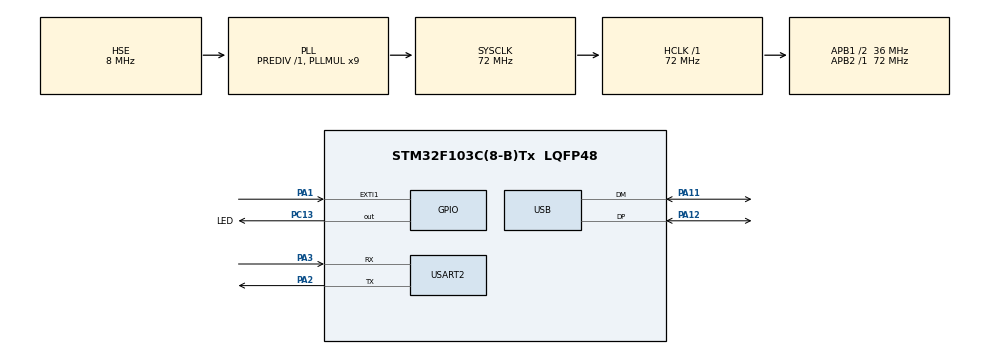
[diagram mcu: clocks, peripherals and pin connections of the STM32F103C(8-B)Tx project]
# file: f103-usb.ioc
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Mcu.Family=STM32F1
Mcu.Name=STM32F103C(8-B)Tx
Mcu.Package=LQFP48
NVIC.PriorityGroup=NVIC_PRIORITYGROUP_4
NVIC.USB_LP_CAN1_RX0_IRQn=true\:0\:0\:false\:false\:true
PA1.Signal=GPXTI1
PA11.Mode=Device
PA11.Signal=USB_DM
PA12.Mode=Device
PA12.Signal=USB_DP
PA2.Mode=Asynchronous
PA2.Signal=USART2_TX
PA3.Mode=Asynchronous
PA3.Signal=USART2_RX
PC13-TAMPER-RTC.GPIO_Label=LED
PC13-TAMPER-RTC.Signal=GPIO_Output
PD0-OSC_IN.Mode=HSE-External-Oscillator
PD0-OSC_IN.Signal=RCC_OSC_IN
PD1-OSC_OUT.Mode=HSE-External-Oscillator
PD1-OSC_OUT.Signal=RCC_OSC_OUT
ProjectManager.HeapSize=0x200
ProjectManager.StackSize=0x400
ProjectManager.TargetToolchain=SW4STM32
RCC.AHBFreq_Value=72000000
RCC.APB1CLKDivider=RCC_HCLK_DIV2
RCC.APB1Freq_Value=36000000
RCC.APB1TimFreq_Value=72000000
RCC.APB2Freq_Value=72000000
RCC.APB2TimFreq_Value=72000000
RCC.HCLKFreq_Value=72000000
RCC.HSIState=RCC_HSI_ON
RCC.PLLMUL=RCC_PLL_MUL9
RCC.PLLSourceVirtual=RCC_PLLSOURCE_HSE
RCC.RTCClockSelection=RCC_RTCCLKSOURCE_LSE
RCC.SYSCLKFreq_VALUE=72000000
RCC.SYSCLKSource=RCC_SYSCLKSOURCE_PLLCLK
RCC.USBFreq_Value=48000000
RCC.USBPrescaler=RCC_USBCLKSOURCE_PLL_DIV1_5
USB_DEVICE.USBD_HandleTypeDef=hUsbDeviceFS
USB_DEVICE.VirtualMode=Hid
USB_DEVICE.VirtualModeFS=Hid_FS
VP_SYS_VS_ND.Mode=No_Debug
VP_USB_DEVICE_VS_USB_DEVICE_HID_FS.Mode=HID_FS
board=f103-usb

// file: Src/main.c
/**
  ******************************************************************************
  * File Name          : main.c
  * Description        : Main program body
  ******************************************************************************
  *
  * COPYRIGHT(c) 2016 STMicroelectronics
  *
  * Redistribution and use in source and binary forms, with or without modification,
  * are permitted provided that the following conditions are met:
  *   1. Redistributions of source code must retain the above copyright notice,
  *      this list of conditions and the following disclaimer.
  *   2. Redistributions in binary form must reproduce the above copyright notice,
  *      this list of conditions and the following disclaimer in the documentation
  *      and/or other materials provided with the distribution.
  *   3. Neither the name of STMicroelectronics nor the names of its contributors
  *      may be used to endorse or promote products derived from this software
  *      without specific prior written permission.
  *
  * THIS SOFTWARE IS PROVIDED BY THE COPYRIGHT HOLDERS AND CONTRIBUTORS "AS IS"
  * AND ANY EXPRESS OR IMPLIED WARRANTIES, INCLUDING, BUT NOT LIMITED TO, THE
  * IMPLIED WARRANTIES OF MERCHANTABILITY AND FITNESS FOR A PARTICULAR PURPOSE ARE
  * DISCLAIMED. IN NO EVENT SHALL THE COPYRIGHT HOLDER OR CONTRIBUTORS BE LIABLE
  * FOR ANY DIRECT, INDIRECT, INCIDENTAL, SPECIAL, EXEMPLARY, OR CONSEQUENTIAL
  * DAMAGES (INCLUDING, BUT NOT LIMITED TO, PROCUREMENT OF SUBSTITUTE GOODS OR
  * SERVICES; LOSS OF USE, DATA, OR PROFITS; OR BUSINESS INTERRUPTION) HOWEVER
  * CAUSED AND ON ANY THEORY OF LIABILITY, WHETHER IN CONTRACT, STRICT LIABILITY,
  * OR TORT (INCLUDING NEGLIGENCE OR OTHERWISE) ARISING IN ANY WAY OUT OF THE USE
  * OF THIS SOFTWARE, EVEN IF ADVISED OF THE POSSIBILITY OF SUCH DAMAGE.
  *
  ******************************************************************************
  */
#include <usbd_hid.h>
#include <stdbool.h>
#include <keyboard.h>
#include <circbuf.h>
#include "stm32f1xx_hal.h"
#include "usart.h"
#include "usb_device.h"
#include "gpio.h"

/* USER CODE BEGIN PV */
/* Private variables ---------------------------------------------------------*/

/* USER CODE END PV */

void SystemClock_Config(void);

void Error_Handler(void);

/* USER CODE BEGIN PFP */
/* Private function prototypes -----------------------------------------------*/

/* USER CODE END PFP */

/* USER CODE BEGIN 0 */

CircBuf *key_cbuf;

void fkey_press(uint8_t key) {
	KeyEvent ke = {key, true};
	cbuf_append(key_cbuf, &ke);
}

void fkey_release(uint8_t key) {
	KeyEvent ke = {key, false};
	cbuf_append(key_cbuf, &ke);
}

void fkey_type(uint8_t key, bool shift) {
	if(shift) fkey_press(KEY_LEFTSHIFT);
	fkey_press(key);
	fkey_release(key);
	if(shift) fkey_release(KEY_LEFTSHIFT);
}

/** Print a debug message */
void dbg(const char *msg) {
	HAL_UART_Transmit(&huart2, (char *) msg, (uint16_t) strlen(msg), 10);
}

void HAL_GPIO_EXTI_Callback(uint16_t GPIO_Pin) {
	UNUSED(GPIO_Pin);

	static uint32_t lasttick = 0;

	dbg("EXTI!\r\n");

	if (HAL_GetTick() - lasttick < 1000) {
		dbg("Discard, too soon\r\n");
		return;
	}

	dbg("HEYOOO\r\n");

	fkey_type(KEY_H, true);
	fkey_type(KEY_E, false);
	fkey_type(KEY_L, false);
	fkey_type(KEY_L, false);
	fkey_type(KEY_O, false);
	fkey_type(KEY_SPACE, false);
	fkey_type(KEY_W, true);
	fkey_type(KEY_O, false);
	fkey_type(KEY_R, false);
	fkey_type(KEY_L, false);
	fkey_type(KEY_D, false);
	fkey_type(KEY_ENTER, false);
}

/* USER CODE END 0 */

int main(void) {
	/* USER CODE BEGIN 1 */
	kybd_clear();

	key_cbuf = cbuf_create(100, sizeof(KeyEvent));

	/* USER CODE END 1 */

	/* MCU Configuration----------------------------------------------------------*/

	/* Reset of all peripherals, Initializes the Flash interface and the Systick. */
	HAL_Init();

	/* Configure the system clock */
	SystemClock_Config();

	/* Initialize all configured peripherals */
	MX_GPIO_Init();
	MX_USART2_UART_Init();
	MX_USB_DEVICE_Init();

	/* Infinite loop */
	/* USER CODE BEGIN WHILE */
#pragma clang diagnostic push
#pragma clang diagnostic ignored "-Wmissing-noreturn"

	dbg("-- READY! --\r\n\r\n");

	char msg[] = "A\r\n";

	while (1) {
		/* USER CODE END WHILE */

		/* USER CODE BEGIN 3 */

		HAL_Delay(500);
		HAL_GPIO_TogglePin(LED_GPIO_Port, LED_Pin);

		dbg(msg);

		// Toggle
		if (msg[0] == 'A') {
			msg[0] = 'B';
		} else {
			msg[0] = 'A';
		}
	}

#pragma clang diagnostic pop
	/* USER CODE END 3 */

}

/** System Clock Configuration
*/
void SystemClock_Config(void) {

	RCC_OscInitTypeDef RCC_OscInitStruct;
	RCC_ClkInitTypeDef RCC_ClkInitStruct;
	RCC_PeriphCLKInitTypeDef PeriphClkInit;

	RCC_OscInitStruct.OscillatorType = RCC_OSCILLATORTYPE_HSE;
	RCC_OscInitStruct.HSEState = RCC_HSE_ON;
	RCC_OscInitStruct.HSEPredivValue = RCC_HSE_PREDIV_DIV1;
	RCC_OscInitStruct.PLL.PLLState = RCC_PLL_ON;
	RCC_OscInitStruct.PLL.PLLSource = RCC_PLLSOURCE_HSE;
	RCC_OscInitStruct.PLL.PLLMUL = RCC_PLL_MUL9;
	if (HAL_RCC_OscConfig(&RCC_OscInitStruct) != HAL_OK) {
		Error_Handler();
	}

	RCC_ClkInitStruct.ClockType = RCC_CLOCKTYPE_HCLK | RCC_CLOCKTYPE_SYSCLK
	                              | RCC_CLOCKTYPE_PCLK1 | RCC_CLOCKTYPE_PCLK2;
	RCC_ClkInitStruct.SYSCLKSource = RCC_SYSCLKSOURCE_PLLCLK;
	RCC_ClkInitStruct.AHBCLKDivider = RCC_SYSCLK_DIV1;
	RCC_ClkInitStruct.APB1CLKDivider = RCC_HCLK_DIV2;
	RCC_ClkInitStruct.APB2CLKDivider = RCC_HCLK_DIV1;
	if (HAL_RCC_ClockConfig(&RCC_ClkInitStruct, FLASH_LATENCY_2) != HAL_OK) {
		Error_Handler();
	}

	PeriphClkInit.PeriphClockSelection = RCC_PERIPHCLK_USB;
	PeriphClkInit.UsbClockSelection = RCC_USBCLKSOURCE_PLL_DIV1_5;
	if (HAL_RCCEx_PeriphCLKConfig(&PeriphClkInit) != HAL_OK) {
		Error_Handler();
	}

	HAL_SYSTICK_Config(HAL_RCC_GetHCLKFreq() / 1000);

	HAL_SYSTICK_CLKSourceConfig(SYSTICK_CLKSOURCE_HCLK);

	/* SysTick_IRQn interrupt configuration */
	HAL_NVIC_SetPriority(SysTick_IRQn, 0, 0);
}

void Error_Handler(void) {
	while (1) {
	}
}

/************************ (C) COPYRIGHT STMicroelectronics *****END OF FILE****/
